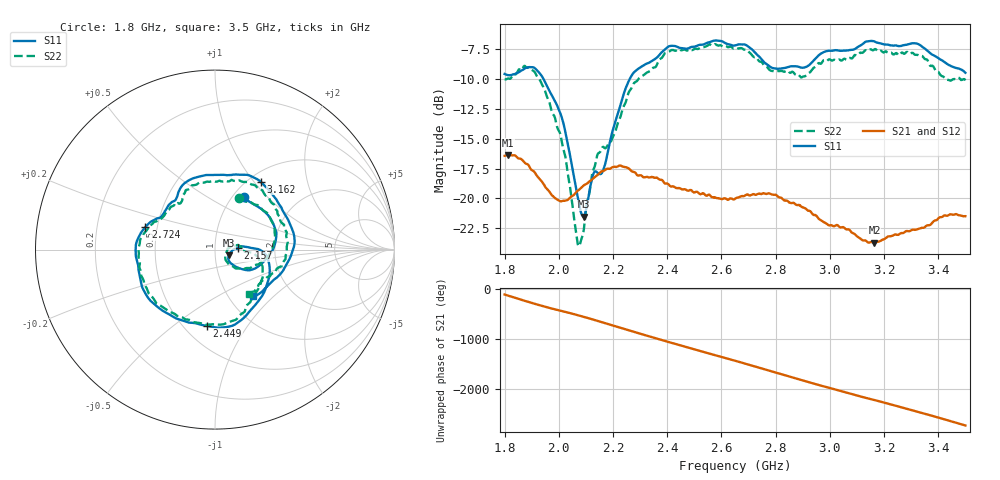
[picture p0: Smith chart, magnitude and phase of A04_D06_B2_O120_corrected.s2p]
! Created with skrf 1.9.0 (http://scikit-rf.org).
# Hz S RI R 50.0
!freq ReS11 ImS11 ReS21 ImS21 ReS12 ImS12 ReS22 ImS22
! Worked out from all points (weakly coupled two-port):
!   1601 points, 1.8 GHz to 3.5 GHz, reference 50 ohm
!   highest |S21| = -16.35 dB at 1.812 GHz (marker M1); lowest = -23.7 dB at 3.164 GHz (marker M2)
!   lowest |S11| = -21.5 dB at 2.091 GHz (marker M3), VSWR 1.18, Z = 58.3 - j3.61 ohm
!   |S11| at or under -10 dB: 1.944 GHz to 2.261 GHz (317.2 MHz wide, 15.1 % of centre)
!   |S22| runs from -24.0 to -7.1 dB; largest |S21 - S12| = 0.0025
!   S11 on the Smith chart (normalised r, x): 1.8 GHz: 1.13, +0.74; 2.157 GHz: 1.29, +0.02; 2.449 GHz: 0.64, -0.67; 2.724 GHz: 0.43, +0.13; 3.162 GHz: 1.13, +1.08; 3.5 GHz: 1.29, -0.76
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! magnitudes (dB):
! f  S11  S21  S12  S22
! 1.8 GHz  -9.6  -16.4  -16.4  -10.0
! 1.812 GHz  -9.7  -16.4  -16.4  -9.9
! 1.88 GHz  -9.0  -17.1  -17.1  -9.0
! 1.941 GHz  -9.9  -18.7  -18.7  -10.6
! 2.013 GHz  -13.3  -20.2  -20.2  -15.4
! 2.067 GHz  -19.5  -19.4  -19.4  -23.4
! 2.084 GHz  -21.3  -19.1  -19.1  -23.4
! 2.091 GHz  -21.5  -18.9  -19.0  -22.8
! 2.128 GHz  -17.9  -18.3  -18.3  -17.6
! 2.157 GHz  -17.9  -17.7  -17.7  -15.9
! 2.197 GHz  -14.4  -17.4  -17.4  -15.0
! 2.26 GHz  -10.1  -17.5  -17.5  -11.0
! 2.367 GHz  -8.1  -18.3  -18.3  -8.5
! 2.449 GHz  -7.4  -19.2  -19.2  -7.6
! 2.65 GHz  -7.2  -20.0  -20.0  -7.4
! 2.724 GHz  -7.8  -19.7  -19.6  -8.1
! 2.797 GHz  -9.1  -19.7  -19.7  -9.4
! 2.934 GHz  -8.6  -21.2  -21.2  -9.2
! 3.162 GHz  -6.8  -23.7  -23.7  -7.5
! 3.164 GHz  -6.8  -23.7  -23.7  -7.5
! 3.217 GHz  -7.1  -23.2  -23.2  -7.8
! 3.5 GHz  -9.5  -21.5  -21.5  -10.1
